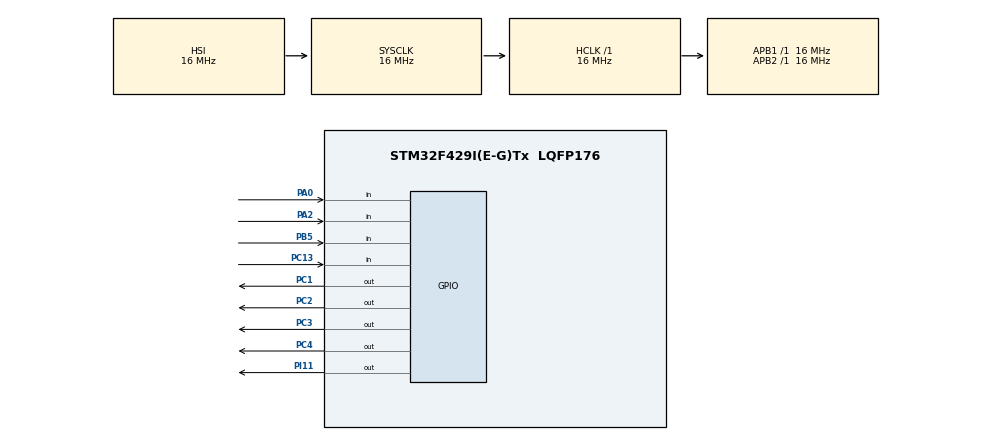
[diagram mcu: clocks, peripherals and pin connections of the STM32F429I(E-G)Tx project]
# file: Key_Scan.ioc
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Mcu.Family=STM32F4
Mcu.Name=STM32F429I(E-G)Tx
Mcu.Package=LQFP176
NVIC.PriorityGroup=NVIC_PRIORITYGROUP_4
PA0/WKUP.Signal=GPIO_Input
PA2.Signal=GPIO_Input
PB5.Signal=GPIO_Input
PC1.Signal=GPIO_Output
PC13.Signal=GPIO_Input
PC2.Signal=GPIO_Output
PC3.Signal=GPIO_Output
PC4.Signal=GPIO_Output
PI11.Signal=GPIO_Output
ProjectManager.HeapSize=0x200
ProjectManager.StackSize=0x400
ProjectManager.TargetToolchain=MDK-ARM V5.32
RCC.AHBFreq_Value=16000000
RCC.APB1Freq_Value=16000000
RCC.APB2Freq_Value=16000000
RCC.CortexFreq_Value=16000000
RCC.HSE_VALUE=25000000
RCC.HSI_VALUE=16000000
RCC.LSE_VALUE=32768
RCC.SYSCLKFreq_VALUE=16000000
RCC.VCOOutputFreq_Value=192000000
board=custom

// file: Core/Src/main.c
/* USER CODE BEGIN Header */
/**
  ******************************************************************************
  * @file           : main.c
  * @brief          : Main program body
  ******************************************************************************
  * @attention
  *
  * Copyright (c) 2024 STMicroelectronics.
  * All rights reserved.
  *
  * This software is licensed under terms that can be found in the LICENSE file
  * in the root directory of this software component.
  * If no LICENSE file comes with this software, it is provided AS-IS.
  *
  ******************************************************************************
  */
/* USER CODE END Header */
#include "main.h"
#include "gpio.h"

void SystemClock_Config(void);

int main(void)
{

  /* MCU Configuration--------------------------------------------------------*/

  /* Reset of all peripherals, Initializes the Flash interface and the Systick. */
  HAL_Init();

  /* Configure the system clock */
  SystemClock_Config();

  /* Initialize all configured peripherals */
  MX_GPIO_Init();

  /* Infinite loop */
  /* USER CODE BEGIN WHILE */
  while (1)
  {
		if(HAL_GPIO_ReadPin(GPIOA,GPIO_PIN_0) == 0)
		{
			HAL_GPIO_WritePin(GPIOC,GPIO_PIN_1,GPIO_PIN_SET);
			HAL_GPIO_WritePin(GPIOI,GPIO_PIN_11,GPIO_PIN_SET);
		}
		else
			HAL_GPIO_WritePin(GPIOC,GPIO_PIN_1,GPIO_PIN_RESET);
		if(HAL_GPIO_ReadPin(GPIOC,GPIO_PIN_13) == 0)
		{
			HAL_GPIO_WritePin(GPIOC,GPIO_PIN_2,GPIO_PIN_SET);
			HAL_GPIO_WritePin(GPIOI,GPIO_PIN_11,GPIO_PIN_SET);
		}
		else
			HAL_GPIO_WritePin(GPIOC,GPIO_PIN_2,GPIO_PIN_RESET);
		if(HAL_GPIO_ReadPin(GPIOB,GPIO_PIN_5) == 0)
		{
			HAL_GPIO_WritePin(GPIOC,GPIO_PIN_3,GPIO_PIN_SET);
			HAL_GPIO_WritePin(GPIOI,GPIO_PIN_11,GPIO_PIN_SET);
		}
		else
			HAL_GPIO_WritePin(GPIOC,GPIO_PIN_3,GPIO_PIN_RESET);
		if(HAL_GPIO_ReadPin(GPIOA,GPIO_PIN_2) == 0)
		{
			HAL_GPIO_WritePin(GPIOC,GPIO_PIN_4,GPIO_PIN_SET);
			HAL_GPIO_WritePin(GPIOI,GPIO_PIN_11,GPIO_PIN_SET);
		}
		else
			HAL_GPIO_WritePin(GPIOC,GPIO_PIN_4,GPIO_PIN_RESET);
		if(HAL_GPIO_ReadPin(GPIOA,GPIO_PIN_0) == 1 && HAL_GPIO_ReadPin(GPIOC,GPIO_PIN_13) == 1 && HAL_GPIO_ReadPin(GPIOB,GPIO_PIN_5) == 1 && HAL_GPIO_ReadPin(GPIOA,GPIO_PIN_2) == 1)
			HAL_GPIO_WritePin(GPIOI,GPIO_PIN_11,GPIO_PIN_RESET);

    /* USER CODE END WHILE */

  }
}

void SystemClock_Config(void)
{
  RCC_OscInitTypeDef RCC_OscInitStruct = {0};
  RCC_ClkInitTypeDef RCC_ClkInitStruct = {0};

  /** Configure the main internal regulator output voltage
  */
  __HAL_RCC_PWR_CLK_ENABLE();
  __HAL_PWR_VOLTAGESCALING_CONFIG(PWR_REGULATOR_VOLTAGE_SCALE3);

  /** Initializes the RCC Oscillators according to the specified parameters
  * in the RCC_OscInitTypeDef structure.
  */
  RCC_OscInitStruct.OscillatorType = RCC_OSCILLATORTYPE_HSI;
  RCC_OscInitStruct.HSIState = RCC_HSI_ON;
  RCC_OscInitStruct.HSICalibrationValue = RCC_HSICALIBRATION_DEFAULT;
  RCC_OscInitStruct.PLL.PLLState = RCC_PLL_NONE;
  if (HAL_RCC_OscConfig(&RCC_OscInitStruct) != HAL_OK)
  {
    Error_Handler();
  }

  /** Initializes the CPU, AHB and APB buses clocks
  */
  RCC_ClkInitStruct.ClockType = RCC_CLOCKTYPE_HCLK|RCC_CLOCKTYPE_SYSCLK
                              |RCC_CLOCKTYPE_PCLK1|RCC_CLOCKTYPE_PCLK2;
  RCC_ClkInitStruct.SYSCLKSource = RCC_SYSCLKSOURCE_HSI;
  RCC_ClkInitStruct.AHBCLKDivider = RCC_SYSCLK_DIV1;
  RCC_ClkInitStruct.APB1CLKDivider = RCC_HCLK_DIV1;
  RCC_ClkInitStruct.APB2CLKDivider = RCC_HCLK_DIV1;

  if (HAL_RCC_ClockConfig(&RCC_ClkInitStruct, FLASH_LATENCY_0) != HAL_OK)
  {
    Error_Handler();
  }
}

void Error_Handler(void)
{
  __disable_irq();
  while (1)
  {
  }
}
